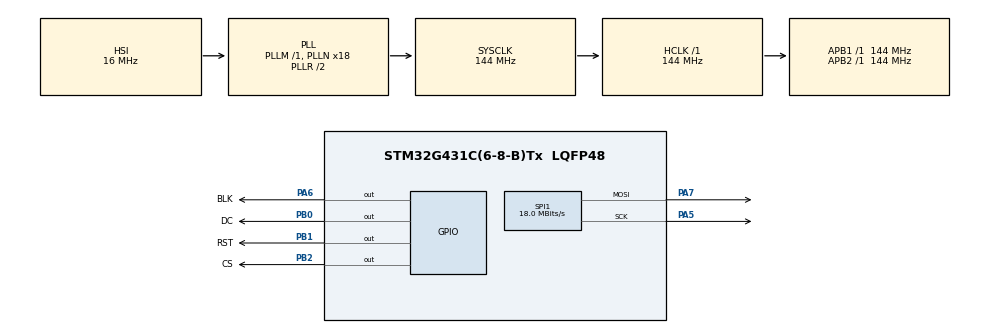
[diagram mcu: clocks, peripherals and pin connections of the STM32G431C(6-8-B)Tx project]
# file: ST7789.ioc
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Mcu.Family=STM32G4
Mcu.Name=STM32G431C(6-8-B)Tx
Mcu.Package=LQFP48
NVIC.PriorityGroup=NVIC_PRIORITYGROUP_4
PA13.Mode=Serial_Wire
PA13.Signal=SYS_JTMS-SWDIO
PA14.Mode=Serial_Wire
PA14.Signal=SYS_JTCK-SWCLK
PA5.Mode=TX_Only_Simplex_Unidirect_Master
PA5.Signal=SPI1_SCK
PA6.GPIO_Label=BLK
PA6.PinState=GPIO_PIN_SET
PA6.Signal=GPIO_Output
PA7.Mode=TX_Only_Simplex_Unidirect_Master
PA7.Signal=SPI1_MOSI
PB0.GPIO_Label=DC
PB0.GPIO_Speed=GPIO_SPEED_FREQ_VERY_HIGH
PB0.Signal=GPIO_Output
PB1.GPIO_Label=RST
PB1.GPIO_PuPd=GPIO_NOPULL
PB1.GPIO_Speed=GPIO_SPEED_FREQ_VERY_HIGH
PB1.Signal=GPIO_Output
PB2.GPIO_Label=CS
PB2.GPIO_PuPd=GPIO_NOPULL
PB2.GPIO_Speed=GPIO_SPEED_FREQ_VERY_HIGH
PB2.PinState=GPIO_PIN_SET
PB2.Signal=GPIO_Output
PF0-OSC_IN.Mode=HSE-External-Oscillator
PF0-OSC_IN.Signal=RCC_OSC_IN
PF1-OSC_OUT.Mode=HSE-External-Oscillator
PF1-OSC_OUT.Signal=RCC_OSC_OUT
ProjectManager.HeapSize=0x200
ProjectManager.StackSize=0x400
ProjectManager.TargetToolchain=STM32CubeIDE
RCC.ADC12Freq_Value=144000000
RCC.AHBFreq_Value=144000000
RCC.APB1Freq_Value=144000000
RCC.APB1TimFreq_Value=144000000
RCC.APB2Freq_Value=144000000
RCC.APB2TimFreq_Value=144000000
RCC.CortexFreq_Value=144000000
RCC.EXTERNAL_CLOCK_VALUE=12288000
RCC.HCLKFreq_Value=144000000
RCC.HSE_VALUE=20000000
RCC.HSI48_VALUE=48000000
RCC.HSI_VALUE=16000000
RCC.LSE_VALUE=32768
RCC.PLLN=18
RCC.SYSCLKFreq_VALUE=144000000
RCC.SYSCLKSource=RCC_SYSCLKSOURCE_PLLCLK
RCC.USBFreq_Value=144000000
RCC.VCOOutputFreq_Value=288000000
SPI1.BaudRatePrescaler=SPI_BAUDRATEPRESCALER_8
SPI1.CLKPhase=SPI_PHASE_2EDGE
SPI1.CLKPolarity=SPI_POLARITY_HIGH
SPI1.CalculateBaudRate=18.0 MBits/s
SPI1.DataSize=SPI_DATASIZE_8BIT
SPI1.Direction=SPI_DIRECTION_2LINES
SPI1.Mode=SPI_MODE_MASTER
SPI1.VirtualType=VM_MASTER
board=custom

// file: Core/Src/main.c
/* USER CODE BEGIN Header */
/**
  ******************************************************************************
  * @file           : main.c
  * @brief          : Main program body
  ******************************************************************************
  * @attention
  *
  * Copyright (c) 2025 STMicroelectronics.
  * All rights reserved.
  *
  * This software is licensed under terms that can be found in the LICENSE file
  * in the root directory of this software component.
  * If no LICENSE file comes with this software, it is provided AS-IS.
  *
  ******************************************************************************
  */
/* USER CODE END Header */
#include "main.h"

/* USER CODE BEGIN Includes */
#include "stdio.h"
#include "Anglas_ST7789.h"
#include "fonts.h"
#include "math.h"
#include "bitmap.h"
/* USER CODE END Includes */

SPI_HandleTypeDef hspi1;

/* USER CODE BEGIN PV */
uint16_t contInt=0;
float contFloat=0.0;
char buff[32];
/* USER CODE END PV */

void SystemClock_Config(void);
static void MX_GPIO_Init(void);
static void MX_SPI1_Init(void);

int main(void)
{

  /* MCU Configuration--------------------------------------------------------*/

  /* Reset of all peripherals, Initializes the Flash interface and the Systick. */
  HAL_Init();

  /* Configure the system clock */
  SystemClock_Config();

  /* Initialize all configured peripherals */
  MX_GPIO_Init();
  MX_SPI1_Init();
  /* USER CODE BEGIN 2 */
  ST7789_Init();
  ST7789_rotation(4);

  ST7789_FillScreen(ST7789_RED);
  HAL_Delay(500);
  ST7789_FillScreen(ST7789_BLUE);
  HAL_Delay(500);
  ST7789_FillScreen(ST7789_GREEN);
  HAL_Delay(500);
  ST7789_FillScreen(ST7789_CYAN);
  HAL_Delay(500);
  ST7789_FillScreen(ST7789_BLACK);
  HAL_Delay(500);
  ST7789_FillScreen(ST7789_MAGENTA);
  HAL_Delay(500);
  ST7789_FillScreen(ST7789_YELLOW);
  HAL_Delay(500);
  ST7789_FillScreen(ST7789_WHITE);
  HAL_Delay(500);

  //ST7789_DrawImage(0, 0, 320, 170, korn_320x170);
  //HAL_Delay(5000);
  //ST7789_DrawImage(0, 0, 320, 170, blink_320x170);
  //HAL_Delay(5000);
  //ST7789_DrawImage(0, 0, 320, 170, shenanigans_320x170);
  //HAL_Delay(5000);

  /* USER CODE END 2 */

  /* Infinite loop */
  /* USER CODE BEGIN WHILE */
  while (1)
  {
      contInt++;
      sprintf(buff,"INT: %dmA",contInt);
      ST7789_print(50, 20, RGB565(255, 255, 255) , RGB565(0, 10, 100) , 1, &Font_16x26, 1, buff);//135x240

      contFloat+=0.1;
      sprintf(buff,"FLOAT: %4.2fV",contFloat);
      ST7789_print(40, 60, RGB565(255, 0, 0) , RGB565(0, 10, 100) , 1, &Font_11x18, 1, buff);//135x240
    /* USER CODE END WHILE */

  }
}

void SystemClock_Config(void)
{
  RCC_OscInitTypeDef RCC_OscInitStruct = {0};
  RCC_ClkInitTypeDef RCC_ClkInitStruct = {0};

  /** Configure the main internal regulator output voltage
  */
  HAL_PWREx_ControlVoltageScaling(PWR_REGULATOR_VOLTAGE_SCALE1);

  /** Initializes the RCC Oscillators according to the specified parameters
  * in the RCC_OscInitTypeDef structure.
  */
  RCC_OscInitStruct.OscillatorType = RCC_OSCILLATORTYPE_HSI;
  RCC_OscInitStruct.HSIState = RCC_HSI_ON;
  RCC_OscInitStruct.HSICalibrationValue = RCC_HSICALIBRATION_DEFAULT;
  RCC_OscInitStruct.PLL.PLLState = RCC_PLL_ON;
  RCC_OscInitStruct.PLL.PLLSource = RCC_PLLSOURCE_HSI;
  RCC_OscInitStruct.PLL.PLLM = RCC_PLLM_DIV1;
  RCC_OscInitStruct.PLL.PLLN = 18;
  RCC_OscInitStruct.PLL.PLLP = RCC_PLLP_DIV2;
  RCC_OscInitStruct.PLL.PLLQ = RCC_PLLQ_DIV2;
  RCC_OscInitStruct.PLL.PLLR = RCC_PLLR_DIV2;
  if (HAL_RCC_OscConfig(&RCC_OscInitStruct) != HAL_OK)
  {
    Error_Handler();
  }

  /** Initializes the CPU, AHB and APB buses clocks
  */
  RCC_ClkInitStruct.ClockType = RCC_CLOCKTYPE_HCLK|RCC_CLOCKTYPE_SYSCLK
                              |RCC_CLOCKTYPE_PCLK1|RCC_CLOCKTYPE_PCLK2;
  RCC_ClkInitStruct.SYSCLKSource = RCC_SYSCLKSOURCE_PLLCLK;
  RCC_ClkInitStruct.AHBCLKDivider = RCC_SYSCLK_DIV1;
  RCC_ClkInitStruct.APB1CLKDivider = RCC_HCLK_DIV1;
  RCC_ClkInitStruct.APB2CLKDivider = RCC_HCLK_DIV1;

  if (HAL_RCC_ClockConfig(&RCC_ClkInitStruct, FLASH_LATENCY_4) != HAL_OK)
  {
    Error_Handler();
  }
}

static void MX_SPI1_Init(void)
{

  /* SPI1 parameter configuration*/
  hspi1.Instance = SPI1;
  hspi1.Init.Mode = SPI_MODE_MASTER;
  hspi1.Init.Direction = SPI_DIRECTION_2LINES;
  hspi1.Init.DataSize = SPI_DATASIZE_8BIT;
  hspi1.Init.CLKPolarity = SPI_POLARITY_HIGH;
  hspi1.Init.CLKPhase = SPI_PHASE_2EDGE;
  hspi1.Init.NSS = SPI_NSS_SOFT;
  hspi1.Init.BaudRatePrescaler = SPI_BAUDRATEPRESCALER_8;
  hspi1.Init.FirstBit = SPI_FIRSTBIT_MSB;
  hspi1.Init.TIMode = SPI_TIMODE_DISABLE;
  hspi1.Init.CRCCalculation = SPI_CRCCALCULATION_DISABLE;
  hspi1.Init.CRCPolynomial = 7;
  hspi1.Init.CRCLength = SPI_CRC_LENGTH_DATASIZE;
  hspi1.Init.NSSPMode = SPI_NSS_PULSE_DISABLE;
  if (HAL_SPI_Init(&hspi1) != HAL_OK)
  {
    Error_Handler();
  }

}

static void MX_GPIO_Init(void)
{
  GPIO_InitTypeDef GPIO_InitStruct = {0};

  /* GPIO Ports Clock Enable */
  __HAL_RCC_GPIOF_CLK_ENABLE();
  __HAL_RCC_GPIOA_CLK_ENABLE();
  __HAL_RCC_GPIOB_CLK_ENABLE();

  /*Configure GPIO pin Output Level */
  HAL_GPIO_WritePin(BLK_GPIO_Port, BLK_Pin, GPIO_PIN_SET);

  /*Configure GPIO pin Output Level */
  HAL_GPIO_WritePin(GPIOB, DC_Pin|RST_Pin, GPIO_PIN_RESET);

  /*Configure GPIO pin Output Level */
  HAL_GPIO_WritePin(CS_GPIO_Port, CS_Pin, GPIO_PIN_SET);

  /*Configure GPIO pin : BLK_Pin */
  GPIO_InitStruct.Pin = BLK_Pin;
  GPIO_InitStruct.Mode = GPIO_MODE_OUTPUT_PP;
  GPIO_InitStruct.Pull = GPIO_NOPULL;
  GPIO_InitStruct.Speed = GPIO_SPEED_FREQ_LOW;
  HAL_GPIO_Init(BLK_GPIO_Port, &GPIO_InitStruct);

  /*Configure GPIO pins : DC_Pin RST_Pin CS_Pin */
  GPIO_InitStruct.Pin = DC_Pin|RST_Pin|CS_Pin;
  GPIO_InitStruct.Mode = GPIO_MODE_OUTPUT_PP;
  GPIO_InitStruct.Pull = GPIO_NOPULL;
  GPIO_InitStruct.Speed = GPIO_SPEED_FREQ_VERY_HIGH;
  HAL_GPIO_Init(GPIOB, &GPIO_InitStruct);

}

void Error_Handler(void)
{
  __disable_irq();
  while (1)
  {
  }
}
